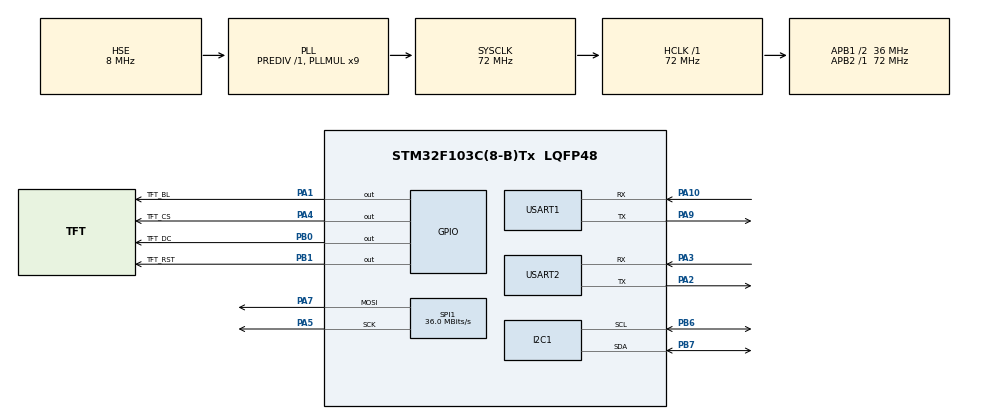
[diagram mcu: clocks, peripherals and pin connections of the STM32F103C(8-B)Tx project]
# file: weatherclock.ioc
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Dma.Request0=SPI1_TX
Dma.Request1=USART2_TX
Dma.Request2=USART2_RX
Dma.SPI1_TX.0.Direction=DMA_MEMORY_TO_PERIPH
Dma.SPI1_TX.0.Instance=DMA1_Channel3
Dma.SPI1_TX.0.MemDataAlignment=DMA_MDATAALIGN_BYTE
Dma.SPI1_TX.0.MemInc=DMA_MINC_ENABLE
Dma.SPI1_TX.0.Mode=DMA_NORMAL
Dma.SPI1_TX.0.PeriphDataAlignment=DMA_PDATAALIGN_BYTE
Dma.SPI1_TX.0.PeriphInc=DMA_PINC_DISABLE
Dma.SPI1_TX.0.Priority=DMA_PRIORITY_LOW
Dma.USART2_RX.2.Direction=DMA_PERIPH_TO_MEMORY
Dma.USART2_RX.2.Instance=DMA1_Channel6
Dma.USART2_RX.2.MemDataAlignment=DMA_MDATAALIGN_BYTE
Dma.USART2_RX.2.MemInc=DMA_MINC_ENABLE
Dma.USART2_RX.2.Mode=DMA_NORMAL
Dma.USART2_RX.2.PeriphDataAlignment=DMA_PDATAALIGN_BYTE
Dma.USART2_RX.2.PeriphInc=DMA_PINC_DISABLE
Dma.USART2_RX.2.Priority=DMA_PRIORITY_LOW
Dma.USART2_TX.1.Direction=DMA_MEMORY_TO_PERIPH
Dma.USART2_TX.1.Instance=DMA1_Channel7
Dma.USART2_TX.1.MemDataAlignment=DMA_MDATAALIGN_BYTE
Dma.USART2_TX.1.MemInc=DMA_MINC_ENABLE
Dma.USART2_TX.1.Mode=DMA_NORMAL
Dma.USART2_TX.1.PeriphDataAlignment=DMA_PDATAALIGN_BYTE
Dma.USART2_TX.1.PeriphInc=DMA_PINC_DISABLE
Dma.USART2_TX.1.Priority=DMA_PRIORITY_LOW
Mcu.Family=STM32F1
Mcu.Name=STM32F103C(8-B)Tx
Mcu.Package=LQFP48
NVIC.DMA1_Channel3_IRQn=true\:0\:0\:false\:false\:true\:false\:true\:true
NVIC.DMA1_Channel6_IRQn=true\:0\:0\:false\:false\:true\:false\:true\:true
NVIC.DMA1_Channel7_IRQn=true\:0\:0\:false\:false\:true\:false\:true\:true
NVIC.PriorityGroup=NVIC_PRIORITYGROUP_4
NVIC.SPI1_IRQn=true\:0\:0\:false\:false\:true\:true\:true\:true
NVIC.USART2_IRQn=true\:0\:0\:false\:false\:true\:false\:true\:true
PA1.GPIO_Label=TFT_BL
PA1.Signal=GPIO_Output
PA10.Mode=Asynchronous
PA10.Signal=USART1_RX
PA13.Mode=Serial_Wire
PA13.Signal=SYS_JTMS-SWDIO
PA14.Mode=Serial_Wire
PA14.Signal=SYS_JTCK-SWCLK
PA2.Mode=Asynchronous
PA2.Signal=USART2_TX
PA3.Mode=Asynchronous
PA3.Signal=USART2_RX
PA4.GPIO_Label=TFT_CS
PA4.Signal=GPIO_Output
PA5.Mode=TX_Only_Simplex_Unidirect_Master
PA5.Signal=SPI1_SCK
PA7.Mode=TX_Only_Simplex_Unidirect_Master
PA7.Signal=SPI1_MOSI
PA9.Mode=Asynchronous
PA9.Signal=USART1_TX
PB0.GPIO_Label=TFT_DC
PB0.Signal=GPIO_Output
PB1.GPIO_Label=TFT_RST
PB1.Signal=GPIO_Output
PB6.Mode=I2C
PB6.Signal=I2C1_SCL
PB7.Mode=I2C
PB7.Signal=I2C1_SDA
PD0-OSC_IN.Mode=HSE-External-Oscillator
PD0-OSC_IN.Signal=RCC_OSC_IN
PD1-OSC_OUT.Mode=HSE-External-Oscillator
PD1-OSC_OUT.Signal=RCC_OSC_OUT
ProjectManager.HeapSize=0x200
ProjectManager.StackSize=0x400
ProjectManager.TargetToolchain=STM32CubeIDE
RCC.AHBFreq_Value=72000000
RCC.APB1CLKDivider=RCC_HCLK_DIV2
RCC.APB1Freq_Value=36000000
RCC.APB1TimFreq_Value=72000000
RCC.APB2Freq_Value=72000000
RCC.APB2TimFreq_Value=72000000
RCC.HCLKFreq_Value=72000000
RCC.PLLMUL=RCC_PLL_MUL9
RCC.PLLSourceVirtual=RCC_PLLSOURCE_HSE
RCC.SYSCLKFreq_VALUE=72000000
RCC.SYSCLKSource=RCC_SYSCLKSOURCE_PLLCLK
RCC.USBFreq_Value=72000000
SPI1.BaudRatePrescaler=SPI_BAUDRATEPRESCALER_2
SPI1.CalculateBaudRate=36.0 MBits/s
SPI1.Direction=SPI_DIRECTION_2LINES
SPI1.Mode=SPI_MODE_MASTER
SPI1.VirtualType=VM_MASTER
USART1.VirtualMode=VM_ASYNC
USART2.VirtualMode=VM_ASYNC
board=custom

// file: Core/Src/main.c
/* USER CODE BEGIN Header */
/**
  ******************************************************************************
  * @file           : main.c
  * @brief          : Main program body
  ******************************************************************************
  * @attention
  *
  * Copyright (c) 2026 STMicroelectronics.
  * All rights reserved.
  *
  * This software is licensed under terms that can be found in the LICENSE file
  * in the root directory of this software component.
  * If no LICENSE file comes with this software, it is provided AS-IS.
  *
  ******************************************************************************
  */
/* USER CODE END Header */
#include "main.h"
#include "dma.h"
#include "i2c.h"
#include "spi.h"
#include "usart.h"
#include "gpio.h"

/* USER CODE BEGIN Includes */
#include "display/lcd_port.h"
#include "bus/uart_port.h" /* uart_port_init()（USER CODE 2 中调用） */
#include "board.h"
#include "app_main.h" /* L3 应用装配（显示初始化 + 上电自检） */

/* EasyLogger：LOG_TAG 必须在包含 elog.h 之前定义 */
#define LOG_TAG "main"
#include "elog.h"
/* USER CODE END Includes */

void SystemClock_Config(void);

int main(void)
{

  /* MCU Configuration--------------------------------------------------------*/

  /* Reset of all peripherals, Initializes the Flash interface and the Systick. */
  HAL_Init();

  /* Configure the system clock */
  SystemClock_Config();

  /* Initialize all configured peripherals */
  MX_GPIO_Init();
  MX_DMA_Init();
  MX_SPI1_Init();
  MX_I2C1_Init();
  MX_USART2_UART_Init();
  MX_USART1_UART_Init();
  /* USER CODE BEGIN 2 */
  /* L0：确认串口通道就绪（含预留的 USART1 日志通道） */
  (void)uart_port_init();

  /* EasyLogger：初始化并统一配置各级别输出格式 = 级别 + 标签 + 时间，
   * 仅靠 A/E/W/I/D/V 字母区分级别（省 Flash 与串口带宽）。
   * 说明：DIR/FUNC/LINE 需配合 elog_cfg.h 的 ELOG_FMT_USING_* 才会产出行号等信息，
   *       裸机无进程/线程，故 P_INFO/T_INFO 一律不开；ELOG_FMT_LVL 为 elog_start()
   *       的断言校验项，任何级别都必须保留。 */
  elog_init();
  for (uint8_t lvl = ELOG_LVL_ASSERT; lvl <= ELOG_LVL_VERBOSE; lvl++) {
    elog_set_fmt(lvl, ELOG_FMT_LVL | ELOG_FMT_TAG | ELOG_FMT_TIME);
  }
  elog_start();

  /* 各优先级各输出一次，验证 USART1 链路（115200 8N1） */
  log_a("Hello EasyLogger!");
  log_e("Hello EasyLogger!");
  log_w("Hello EasyLogger!");
  log_i("Hello EasyLogger!");
  log_d("Hello EasyLogger!");
  log_v("Hello EasyLogger!");

  /* L3 应用装配：初始化显示模块并执行上电自检
   * （app_init → app_display_init → lcd_dev 初始化 + app_display_selftest） */
  app_init();
  /* USER CODE END 2 */

  /* Infinite loop */
  while (1)
  {

    /* USER CODE BEGIN 3 */
    app_loop();
  }
  /* USER CODE END 3 */
}

void SystemClock_Config(void)
{
  RCC_OscInitTypeDef RCC_OscInitStruct = {0};
  RCC_ClkInitTypeDef RCC_ClkInitStruct = {0};

  /** Initializes the RCC Oscillators according to the specified parameters
  * in the RCC_OscInitTypeDef structure.
  */
  RCC_OscInitStruct.OscillatorType = RCC_OSCILLATORTYPE_HSE;
  RCC_OscInitStruct.HSEState = RCC_HSE_ON;
  RCC_OscInitStruct.HSEPredivValue = RCC_HSE_PREDIV_DIV1;
  RCC_OscInitStruct.HSIState = RCC_HSI_ON;
  RCC_OscInitStruct.PLL.PLLState = RCC_PLL_ON;
  RCC_OscInitStruct.PLL.PLLSource = RCC_PLLSOURCE_HSE;
  RCC_OscInitStruct.PLL.PLLMUL = RCC_PLL_MUL9;
  if (HAL_RCC_OscConfig(&RCC_OscInitStruct) != HAL_OK)
  {
    Error_Handler();
  }

  /** Initializes the CPU, AHB and APB buses clocks
  */
  RCC_ClkInitStruct.ClockType = RCC_CLOCKTYPE_HCLK|RCC_CLOCKTYPE_SYSCLK
                              |RCC_CLOCKTYPE_PCLK1|RCC_CLOCKTYPE_PCLK2;
  RCC_ClkInitStruct.SYSCLKSource = RCC_SYSCLKSOURCE_PLLCLK;
  RCC_ClkInitStruct.AHBCLKDivider = RCC_SYSCLK_DIV1;
  RCC_ClkInitStruct.APB1CLKDivider = RCC_HCLK_DIV2;
  RCC_ClkInitStruct.APB2CLKDivider = RCC_HCLK_DIV1;

  if (HAL_RCC_ClockConfig(&RCC_ClkInitStruct, FLASH_LATENCY_2) != HAL_OK)
  {
    Error_Handler();
  }
}

void Error_Handler(void)
{
  __disable_irq();
  while (1)
  {
  }
}
